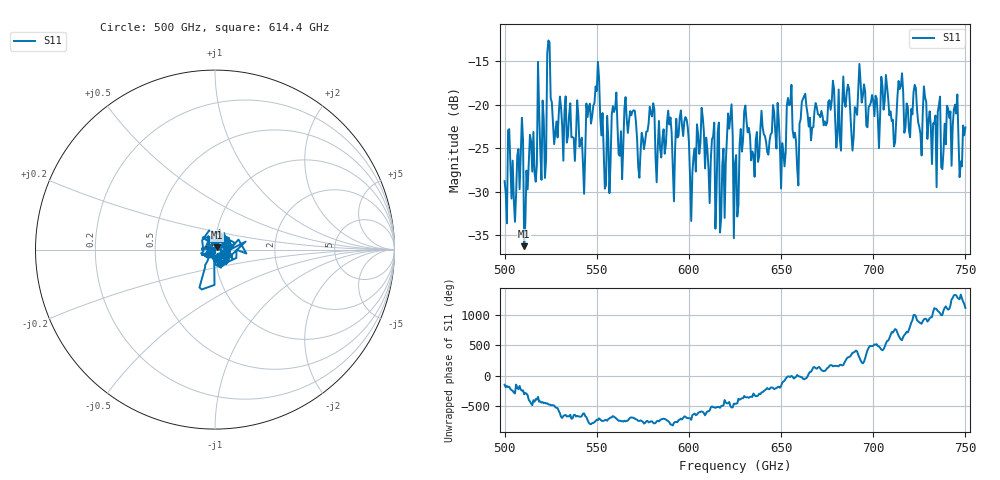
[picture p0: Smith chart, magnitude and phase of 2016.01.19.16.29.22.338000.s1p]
!Created with skrf (http://scikit-rf.org).
# GHz S RI R 50.0
!freq ReS11 ImS11
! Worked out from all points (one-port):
!   401 points, 500 GHz to 750 GHz, reference 50 ohm
!   lowest |S11| = -36.2 dB at 510.6 GHz (marker M1), VSWR 1.03, Z = 50.9 + j1.3 ohm
!   |S11| at or under -10 dB: start of sweep to end of sweep
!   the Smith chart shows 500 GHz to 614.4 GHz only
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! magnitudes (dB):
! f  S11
! 500 GHz  -28.8
! 510.6 GHz  -36.2
! 521.2 GHz  -21.7
! 524.4 GHz  -12.8
! 527.5 GHz  -23.2
! 531.2 GHz  -22.4
! 542.5 GHz  -26.7
! 550 GHz  -18.4
! 553.8 GHz  -25.2
! 559.4 GHz  -20.8
! 562.5 GHz  -25.9
! 593.8 GHz  -23.8
! 601.9 GHz  -27.8
! 608.1 GHz  -23.1
! 618.1 GHz  -26.9
! 622.5 GHz  -21.3
! 625 GHz  -26.7
! 631.2 GHz  -21.9
! 651.2 GHz  -25.5
! 656.2 GHz  -22.9
! 658.1 GHz  -24.2
! 662.5 GHz  -19.0
! 687.5 GHz  -20.7
! 705.6 GHz  -20.6
! 711.2 GHz  -24.8
! 715 GHz  -17.8
! 718.8 GHz  -20.2
! 750 GHz  -22.6
